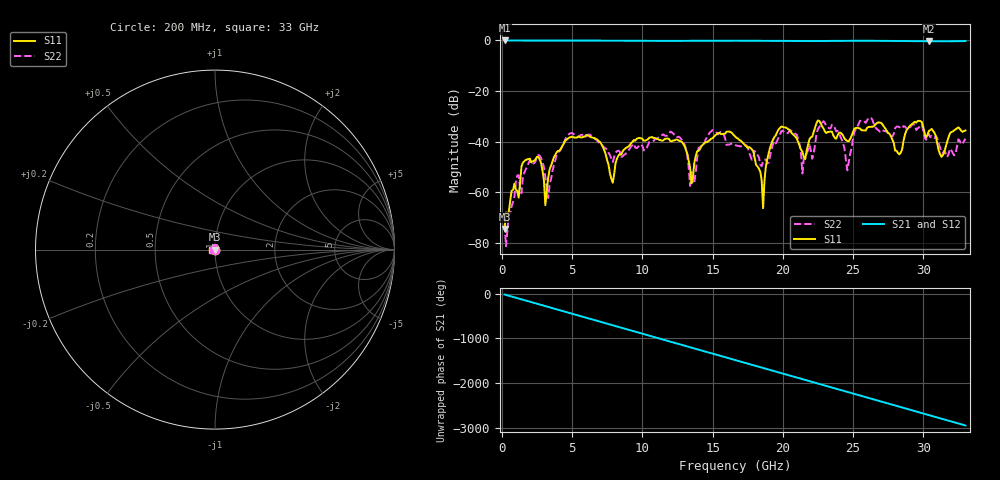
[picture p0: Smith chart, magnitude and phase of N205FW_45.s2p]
# GHZ S RI R 50
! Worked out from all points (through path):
!   329 points, 200 MHz to 33 GHz, reference 50 ohm
!   highest |S21| = -0.02 dB at 200 MHz (marker M1); lowest = -0.4 dB at 30.4 GHz (marker M2)
!   group delay of S21, straight-line fit = 248 ps
!   lowest |S11| = -74.6 dB at 200 MHz (marker M3), VSWR 1.00, Z = 50 + j0.00752 ohm
!   |S11| at or under -10 dB: start of sweep to end of sweep
!   |S22| runs from -81.4 to -30.6 dB; largest |S21 - S12| = 0.0022
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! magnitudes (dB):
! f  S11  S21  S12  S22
! 200 MHz  -74.6  0.0  0.0  -72.8
! 1.5 GHz  -48.4  -0.1  -0.1  -54.4
! 2.6 GHz  -46.1  -0.1  -0.1  -45.3
! 3.1 GHz  -65.2  -0.1  -0.1  -54.0
! 3.8 GHz  -45.3  -0.1  -0.1  -47.6
! 5.7 GHz  -38.4  -0.1  -0.1  -37.4
! 7.9 GHz  -56.3  -0.1  -0.1  -48.1
! 11.2 GHz  -39.4  -0.2  -0.2  -38.3
! 12.8 GHz  -40.1  -0.2  -0.2  -39.3
! 13.4 GHz  -50.2  -0.2  -0.2  -57.6
! 15 GHz  -38.7  -0.1  -0.1  -35.5
! 16.6 GHz  -37.9  -0.1  -0.1  -41.4
! 17.9 GHz  -43.8  -0.2  -0.2  -46.7
! 18.6 GHz  -66.4  -0.2  -0.2  -47.8
! 19.7 GHz  -35.3  -0.2  -0.2  -38.4
! 22.1 GHz  -38.0  -0.3  -0.3  -46.8
! 22.9 GHz  -34.8  -0.2  -0.2  -31.9
! 24.6 GHz  -39.8  -0.2  -0.2  -51.4
! 25.5 GHz  -34.8  -0.1  -0.1  -31.8
! 27.6 GHz  -37.0  -0.2  -0.2  -37.7
! 30.4 GHz  -35.9  -0.4  -0.4  -37.0
! 33 GHz  -35.6  -0.3  -0.3  -38.9
